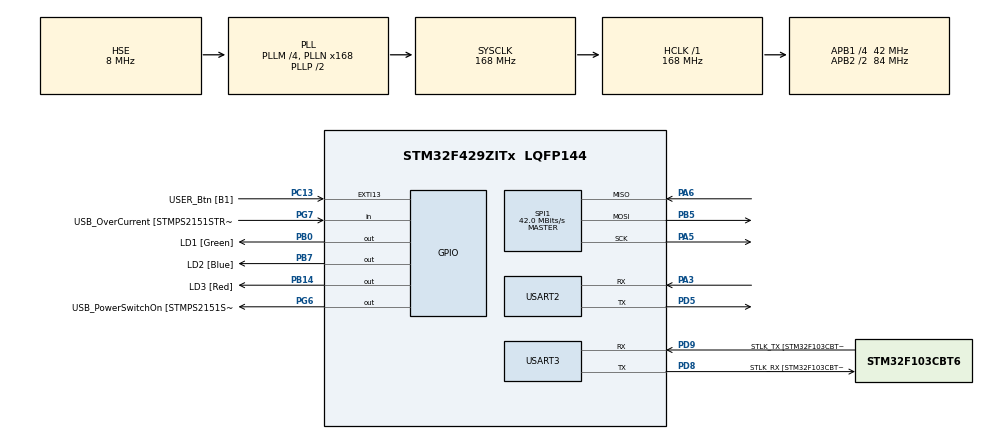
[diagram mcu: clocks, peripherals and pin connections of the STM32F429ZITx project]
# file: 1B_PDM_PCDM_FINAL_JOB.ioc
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Mcu.Family=STM32F4
Mcu.Name=STM32F429ZITx
Mcu.Package=LQFP144
NVIC.PriorityGroup=NVIC_PRIORITYGROUP_4
NVIC.SPI1_IRQn=true\:0\:0\:false\:false\:true\:true\:true\:true
NVIC.USART2_IRQn=true\:0\:0\:false\:false\:true\:true\:true\:true
NVIC.USART3_IRQn=true\:0\:0\:false\:false\:true\:true\:true\:true
PA1.GPIO_Label=RMII_REF_CLK [LAN8742A-CZ-TR_REFCLK0]
PA1.Signal=ETH_REF_CLK
PA10.GPIO_Label=USB_ID
PA10.Signal=USB_OTG_FS_ID
PA11.GPIO_Label=USB_DM
PA11.Signal=USB_OTG_FS_DM
PA12.GPIO_Label=USB_DP
PA12.Signal=USB_OTG_FS_DP
PA13.GPIO_Label=TMS
PA13.Mode=Serial_Wire
PA13.Signal=SYS_JTMS-SWDIO
PA14.GPIO_Label=TCK
PA14.Mode=Serial_Wire
PA14.Signal=SYS_JTCK-SWCLK
PA2.GPIO_Label=RMII_MDIO [LAN8742A-CZ-TR_MDIO]
PA2.Signal=ETH_MDIO
PA3.Mode=Asynchronous
PA3.Signal=USART2_RX
PA5.Mode=Full_Duplex_Master
PA5.Signal=SPI1_SCK
PA6.Mode=Full_Duplex_Master
PA6.Signal=SPI1_MISO
PA7.GPIO_Label=RMII_CRS_DV [LAN8742A-CZ-TR_CRS_DV]
PA7.Signal=ETH_CRS_DV
PA8.GPIO_Label=USB_SOF [TP1]
PA8.Signal=USB_OTG_FS_SOF
PA9.GPIO_Label=USB_VBUS
PA9.Signal=USB_OTG_FS_VBUS
PB0.GPIO_Label=LD1 [Green]
PB0.Signal=GPIO_Output
PB13.GPIO_Label=RMII_TXD1 [LAN8742A-CZ-TR_TXD1]
PB13.Signal=ETH_TXD1
PB14.GPIO_Label=LD3 [Red]
PB14.Signal=GPIO_Output
PB5.Mode=Full_Duplex_Master
PB5.Signal=SPI1_MOSI
PB7.GPIO_Label=LD2 [Blue]
PB7.Signal=GPIO_Output
PC1.GPIO_Label=RMII_MDC [LAN8742A-CZ-TR_MDC]
PC1.Signal=ETH_MDC
PC13.GPIO_Label=USER_Btn [B1]
PC13.Signal=GPXTI13
PC14/OSC32_IN.Mode=LSE-External-Oscillator
PC14/OSC32_IN.Signal=RCC_OSC32_IN
PC15/OSC32_OUT.Mode=LSE-External-Oscillator
PC15/OSC32_OUT.Signal=RCC_OSC32_OUT
PC4.GPIO_Label=RMII_RXD0 [LAN8742A-CZ-TR_RXD0]
PC4.Signal=ETH_RXD0
PC5.GPIO_Label=RMII_RXD1 [LAN8742A-CZ-TR_RXD1]
PC5.Signal=ETH_RXD1
PD5.Mode=Asynchronous
PD5.Signal=USART2_TX
PD8.GPIO_Label=STLK_RX [STM32F103CBT6_PA3]
PD8.Mode=Asynchronous
PD8.Signal=USART3_TX
PD9.GPIO_Label=STLK_TX [STM32F103CBT6_PA2]
PD9.Mode=Asynchronous
PD9.Signal=USART3_RX
PG11.GPIO_Label=RMII_TX_EN [LAN8742A-CZ-TR_TXEN]
PG11.Signal=ETH_TX_EN
PG13.GPIO_Label=RMII_TXD0 [LAN8742A-CZ-TR_TXD0]
PG13.Signal=ETH_TXD0
PG6.GPIO_Label=USB_PowerSwitchOn [STMPS2151STR_EN]
PG6.Signal=GPIO_Output
PG7.GPIO_Label=USB_OverCurrent [STMPS2151STR_FAULT]
PG7.Signal=GPIO_Input
PH0/OSC_IN.GPIO_Label=MCO [STM32F103CBT6_PA8]
PH0/OSC_IN.Mode=HSE-External-Clock-Source
PH0/OSC_IN.Signal=RCC_OSC_IN
PH1/OSC_OUT.Mode=HSE-External-Clock-Source
PH1/OSC_OUT.Signal=RCC_OSC_OUT
ProjectManager.HeapSize=0x200
ProjectManager.StackSize=0x400
ProjectManager.TargetToolchain=STM32CubeIDE
RCC.48MHZClocksFreq_Value=48000000
RCC.AHBFreq_Value=168000000
RCC.APB1CLKDivider=RCC_HCLK_DIV4
RCC.APB1Freq_Value=42000000
RCC.APB1TimFreq_Value=84000000
RCC.APB2CLKDivider=RCC_HCLK_DIV2
RCC.APB2Freq_Value=84000000
RCC.APB2TimCLKDivider=2
RCC.APB2TimFreq_Value=168000000
RCC.CortexFreq_Value=168000000
RCC.HCLKFreq_Value=168000000
RCC.HSE_VALUE=8000000
RCC.HSI_VALUE=16000000
RCC.PLLM=4
RCC.PLLMUL=RCC_PLL_MUL9
RCC.PLLN=168
RCC.PLLQ=7
RCC.PLLSourceVirtual=RCC_PLLSOURCE_HSE
RCC.PRESCALERUSB=RCC_USBCLKSOURCE_PLL_DIV1_5
RCC.SYSCLKFreq_VALUE=168000000
RCC.SYSCLKSource=RCC_SYSCLKSOURCE_PLLCLK
RCC.SYSCLKSourceVirtual=RCC_SYSCLKSOURCE_PLLCLK
RCC.USBFreq_Value=48000000
RCC.VCOOutputFreq_Value=336000000
SPI1.CalculateBaudRate=42.0 MBits/s
SPI1.Direction=SPI_DIRECTION_2LINES
SPI1.Mode=SPI_MODE_MASTER
SPI1.VirtualType=VM_MASTER
USART2.VirtualMode=VM_ASYNC
USART3.VirtualMode=VM_ASYNC
board=NUCLEO-F429ZI

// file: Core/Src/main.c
/* USER CODE BEGIN Header */
/**
  ******************************************************************************
  * @file           : main.c
  * @brief          : Main program body
  ******************************************************************************
  * @attention
  *
  * Copyright (c) 2024 STMicroelectronics.
  * All rights reserved.
  *
  * This software is licensed under terms that can be found in the LICENSE file
  * in the root directory of this software component.
  * If no LICENSE file comes with this software, it is provided AS-IS.
  *
  ******************************************************************************
  */
/* USER CODE END Header */
#include "main.h"

SPI_HandleTypeDef hspi1;

UART_HandleTypeDef huart2;
UART_HandleTypeDef huart3;

void SystemClock_Config(void);
static void MX_GPIO_Init(void);
static void MX_USART3_UART_Init(void);
static void MX_SPI1_Init(void);
static void MX_USART2_UART_Init(void);

/* USER CODE BEGIN 0 */
#include <string.h>
#include <stdbool.h>
#include "stm32f4xx_nucleo_144.h"
#include "API_console.h"
#include "API_log.h"

#define tag "main.c"
#define print_serial_info(format, ...) LOG_LEVEL(LOG_INFO, tag, format, ##__VA_ARGS__)
#define print_serial_warn(format, ...) LOG_LEVEL(LOG_WARN, tag, format, ##__VA_ARGS__)
#define print_serial_error(format, ...) LOG_LEVEL(LOG_ERROR, tag, format, ##__VA_ARGS__)
#define print_serial_hex(data, data_size) LOG_HEXDUMP(tag, data, data_size, LOG_WARN)

static void log_by_usart3(uint8_t * data, uint16_t data_size)
{
	HAL_UART_Transmit(&huart3, data, data_size, 1000);
}

#include "API_spi_flash.h"
#include "app_bootloader.h"
#include <stdbool.h>
/* USER CODE END 0 */

int main(void)
{

  /* MCU Configuration--------------------------------------------------------*/

  /* Reset of all peripherals, Initializes the Flash interface and the Systick. */
  HAL_Init();

  /* Configure the system clock */
  SystemClock_Config();

  /* Initialize all configured peripherals */
  MX_GPIO_Init();
  MX_USART3_UART_Init();
  MX_SPI1_Init();
  MX_USART2_UART_Init();
  /* USER CODE BEGIN 2 */

  /* Initialize APIs: console, log and SPI flash */
  /* Set transmit function for logs. In this case through USART3 in this board.*/
  log_set_transmit_function((log_transmit_f)log_by_usart3);
  print_serial_warn("------ STM32-F429ZI custom bootloader ------");

  /* Initialize console API to communicate with host computer's application */
  int rt = console_init(&huart2);
  if(rt == HAL_OK)
	  print_serial_info("Console OK!");
  else
	  print_serial_error("Console error...");

  /* Initialize SPI flash API.  */
  spi_flash_cs_t cs_gpio = {.port = (uint32_t)GPIOC, .pin = GPIO_PIN_7};
  rt = spi_flash_init(&hspi1, cs_gpio);
  if(rt == SPI_FLASH_OK)
	  print_serial_info("SPI flash OK!");
  else
	  print_serial_error("SPI flash error...");

  app_bootloader_init();
  /* USER CODE END 2 */

  /* Infinite loop */
  /* USER CODE BEGIN WHILE */

  while (1)
  {
	  app_bootloader_start();
  }
  /* USER CODE END 3 */
}

void SystemClock_Config(void)
{
  RCC_OscInitTypeDef RCC_OscInitStruct = {0};
  RCC_ClkInitTypeDef RCC_ClkInitStruct = {0};

  /** Configure the main internal regulator output voltage
  */
  __HAL_RCC_PWR_CLK_ENABLE();
  __HAL_PWR_VOLTAGESCALING_CONFIG(PWR_REGULATOR_VOLTAGE_SCALE1);

  /** Initializes the RCC Oscillators according to the specified parameters
  * in the RCC_OscInitTypeDef structure.
  */
  RCC_OscInitStruct.OscillatorType = RCC_OSCILLATORTYPE_HSE;
  RCC_OscInitStruct.HSEState = RCC_HSE_BYPASS;
  RCC_OscInitStruct.PLL.PLLState = RCC_PLL_ON;
  RCC_OscInitStruct.PLL.PLLSource = RCC_PLLSOURCE_HSE;
  RCC_OscInitStruct.PLL.PLLM = 4;
  RCC_OscInitStruct.PLL.PLLN = 168;
  RCC_OscInitStruct.PLL.PLLP = RCC_PLLP_DIV2;
  RCC_OscInitStruct.PLL.PLLQ = 7;
  if (HAL_RCC_OscConfig(&RCC_OscInitStruct) != HAL_OK)
  {
    Error_Handler();
  }

  /** Initializes the CPU, AHB and APB buses clocks
  */
  RCC_ClkInitStruct.ClockType = RCC_CLOCKTYPE_HCLK|RCC_CLOCKTYPE_SYSCLK
                              |RCC_CLOCKTYPE_PCLK1|RCC_CLOCKTYPE_PCLK2;
  RCC_ClkInitStruct.SYSCLKSource = RCC_SYSCLKSOURCE_PLLCLK;
  RCC_ClkInitStruct.AHBCLKDivider = RCC_SYSCLK_DIV1;
  RCC_ClkInitStruct.APB1CLKDivider = RCC_HCLK_DIV4;
  RCC_ClkInitStruct.APB2CLKDivider = RCC_HCLK_DIV2;

  if (HAL_RCC_ClockConfig(&RCC_ClkInitStruct, FLASH_LATENCY_5) != HAL_OK)
  {
    Error_Handler();
  }
}

static void MX_SPI1_Init(void)
{

  /* SPI1 parameter configuration*/
  hspi1.Instance = SPI1;
  hspi1.Init.Mode = SPI_MODE_MASTER;
  hspi1.Init.Direction = SPI_DIRECTION_2LINES;
  hspi1.Init.DataSize = SPI_DATASIZE_8BIT;
  hspi1.Init.CLKPolarity = SPI_POLARITY_LOW;
  hspi1.Init.CLKPhase = SPI_PHASE_1EDGE;
  hspi1.Init.NSS = SPI_NSS_SOFT;
  hspi1.Init.BaudRatePrescaler = SPI_BAUDRATEPRESCALER_2;
  hspi1.Init.FirstBit = SPI_FIRSTBIT_MSB;
  hspi1.Init.TIMode = SPI_TIMODE_DISABLE;
  hspi1.Init.CRCCalculation = SPI_CRCCALCULATION_DISABLE;
  hspi1.Init.CRCPolynomial = 10;
  if (HAL_SPI_Init(&hspi1) != HAL_OK)
  {
    Error_Handler();
  }

}

static void MX_USART2_UART_Init(void)
{

  huart2.Instance = USART2;
  huart2.Init.BaudRate = 115200;
  huart2.Init.WordLength = UART_WORDLENGTH_8B;
  huart2.Init.StopBits = UART_STOPBITS_1;
  huart2.Init.Parity = UART_PARITY_NONE;
  huart2.Init.Mode = UART_MODE_TX_RX;
  huart2.Init.HwFlowCtl = UART_HWCONTROL_NONE;
  huart2.Init.OverSampling = UART_OVERSAMPLING_16;
  if (HAL_UART_Init(&huart2) != HAL_OK)
  {
    Error_Handler();
  }

}

static void MX_USART3_UART_Init(void)
{

  huart3.Instance = USART3;
  huart3.Init.BaudRate = 115200;
  huart3.Init.WordLength = UART_WORDLENGTH_8B;
  huart3.Init.StopBits = UART_STOPBITS_1;
  huart3.Init.Parity = UART_PARITY_NONE;
  huart3.Init.Mode = UART_MODE_TX_RX;
  huart3.Init.HwFlowCtl = UART_HWCONTROL_NONE;
  huart3.Init.OverSampling = UART_OVERSAMPLING_16;
  if (HAL_UART_Init(&huart3) != HAL_OK)
  {
    Error_Handler();
  }

}

static void MX_GPIO_Init(void)
{
  GPIO_InitTypeDef GPIO_InitStruct = {0};

  /* GPIO Ports Clock Enable */
  __HAL_RCC_GPIOC_CLK_ENABLE();
  __HAL_RCC_GPIOH_CLK_ENABLE();
  __HAL_RCC_GPIOA_CLK_ENABLE();
  __HAL_RCC_GPIOB_CLK_ENABLE();
  __HAL_RCC_GPIOD_CLK_ENABLE();
  __HAL_RCC_GPIOG_CLK_ENABLE();

  /*Configure GPIO pin Output Level */
  HAL_GPIO_WritePin(GPIOB, LD1_Pin|LD3_Pin|LD2_Pin, GPIO_PIN_RESET);

  /*Configure GPIO pin Output Level */
  HAL_GPIO_WritePin(USB_PowerSwitchOn_GPIO_Port, USB_PowerSwitchOn_Pin, GPIO_PIN_RESET);

  /*Configure GPIO pin : USER_Btn_Pin */
  GPIO_InitStruct.Pin = USER_Btn_Pin;
  GPIO_InitStruct.Mode = GPIO_MODE_IT_RISING;
  GPIO_InitStruct.Pull = GPIO_NOPULL;
  HAL_GPIO_Init(USER_Btn_GPIO_Port, &GPIO_InitStruct);

  /*Configure GPIO pins : RMII_MDC_Pin RMII_RXD0_Pin RMII_RXD1_Pin */
  GPIO_InitStruct.Pin = RMII_MDC_Pin|RMII_RXD0_Pin|RMII_RXD1_Pin;
  GPIO_InitStruct.Mode = GPIO_MODE_AF_PP;
  GPIO_InitStruct.Pull = GPIO_NOPULL;
  GPIO_InitStruct.Speed = GPIO_SPEED_FREQ_VERY_HIGH;
  GPIO_InitStruct.Alternate = GPIO_AF11_ETH;
  HAL_GPIO_Init(GPIOC, &GPIO_InitStruct);

  /*Configure GPIO pins : RMII_REF_CLK_Pin RMII_MDIO_Pin RMII_CRS_DV_Pin */
  GPIO_InitStruct.Pin = RMII_REF_CLK_Pin|RMII_MDIO_Pin|RMII_CRS_DV_Pin;
  GPIO_InitStruct.Mode = GPIO_MODE_AF_PP;
  GPIO_InitStruct.Pull = GPIO_NOPULL;
  GPIO_InitStruct.Speed = GPIO_SPEED_FREQ_VERY_HIGH;
  GPIO_InitStruct.Alternate = GPIO_AF11_ETH;
  HAL_GPIO_Init(GPIOA, &GPIO_InitStruct);

  /*Configure GPIO pins : LD1_Pin LD3_Pin LD2_Pin */
  GPIO_InitStruct.Pin = LD1_Pin|LD3_Pin|LD2_Pin;
  GPIO_InitStruct.Mode = GPIO_MODE_OUTPUT_PP;
  GPIO_InitStruct.Pull = GPIO_NOPULL;
  GPIO_InitStruct.Speed = GPIO_SPEED_FREQ_LOW;
  HAL_GPIO_Init(GPIOB, &GPIO_InitStruct);

  /*Configure GPIO pin : RMII_TXD1_Pin */
  GPIO_InitStruct.Pin = RMII_TXD1_Pin;
  GPIO_InitStruct.Mode = GPIO_MODE_AF_PP;
  GPIO_InitStruct.Pull = GPIO_NOPULL;
  GPIO_InitStruct.Speed = GPIO_SPEED_FREQ_VERY_HIGH;
  GPIO_InitStruct.Alternate = GPIO_AF11_ETH;
  HAL_GPIO_Init(RMII_TXD1_GPIO_Port, &GPIO_InitStruct);

  /*Configure GPIO pin : USB_PowerSwitchOn_Pin */
  GPIO_InitStruct.Pin = USB_PowerSwitchOn_Pin;
  GPIO_InitStruct.Mode = GPIO_MODE_OUTPUT_PP;
  GPIO_InitStruct.Pull = GPIO_NOPULL;
  GPIO_InitStruct.Speed = GPIO_SPEED_FREQ_LOW;
  HAL_GPIO_Init(USB_PowerSwitchOn_GPIO_Port, &GPIO_InitStruct);

  /*Configure GPIO pin : USB_OverCurrent_Pin */
  GPIO_InitStruct.Pin = USB_OverCurrent_Pin;
  GPIO_InitStruct.Mode = GPIO_MODE_INPUT;
  GPIO_InitStruct.Pull = GPIO_NOPULL;
  HAL_GPIO_Init(USB_OverCurrent_GPIO_Port, &GPIO_InitStruct);

  /*Configure GPIO pins : USB_SOF_Pin USB_ID_Pin USB_DM_Pin USB_DP_Pin */
  GPIO_InitStruct.Pin = USB_SOF_Pin|USB_ID_Pin|USB_DM_Pin|USB_DP_Pin;
  GPIO_InitStruct.Mode = GPIO_MODE_AF_PP;
  GPIO_InitStruct.Pull = GPIO_NOPULL;
  GPIO_InitStruct.Speed = GPIO_SPEED_FREQ_VERY_HIGH;
  GPIO_InitStruct.Alternate = GPIO_AF10_OTG_FS;
  HAL_GPIO_Init(GPIOA, &GPIO_InitStruct);

  /*Configure GPIO pin : USB_VBUS_Pin */
  GPIO_InitStruct.Pin = USB_VBUS_Pin;
  GPIO_InitStruct.Mode = GPIO_MODE_INPUT;
  GPIO_InitStruct.Pull = GPIO_NOPULL;
  HAL_GPIO_Init(USB_VBUS_GPIO_Port, &GPIO_InitStruct);

  /*Configure GPIO pins : RMII_TX_EN_Pin RMII_TXD0_Pin */
  GPIO_InitStruct.Pin = RMII_TX_EN_Pin|RMII_TXD0_Pin;
  GPIO_InitStruct.Mode = GPIO_MODE_AF_PP;
  GPIO_InitStruct.Pull = GPIO_NOPULL;
  GPIO_InitStruct.Speed = GPIO_SPEED_FREQ_VERY_HIGH;
  GPIO_InitStruct.Alternate = GPIO_AF11_ETH;
  HAL_GPIO_Init(GPIOG, &GPIO_InitStruct);

}

void Error_Handler(void)
{
  __disable_irq();
  while (1)
  {
  }
}
